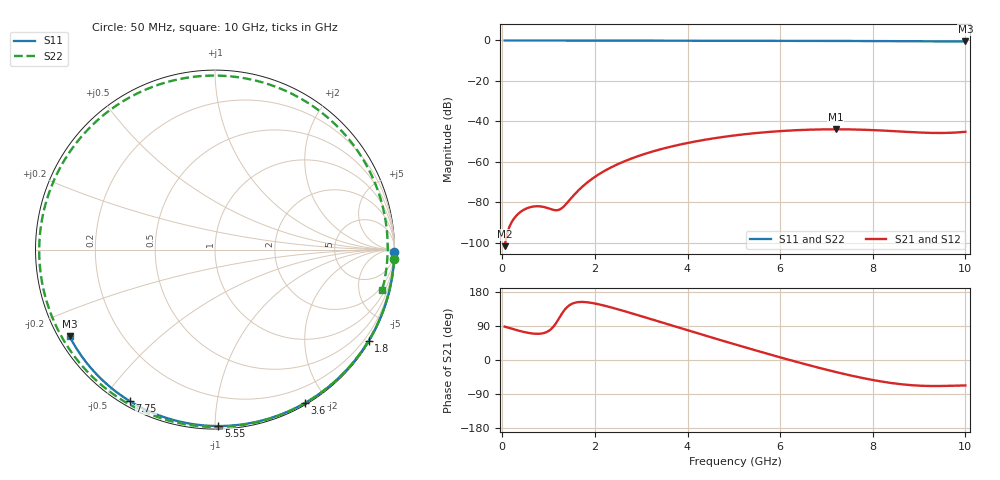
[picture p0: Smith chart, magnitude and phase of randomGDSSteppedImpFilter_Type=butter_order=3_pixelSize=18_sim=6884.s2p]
! freq	dB(S11)	phase(S11)	dB(S12)	phase(S12)
!  dB(S21)	phase(S21)	dB(S22)	phase(S22)
!S-par simulation data
#  GHz  S  DB  R 50
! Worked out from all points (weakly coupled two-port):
!   200 points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, 50 MHz to 10 GHz, reference 50 ohm
!   highest |S21| = -43.94 dB at 7.2 GHz (marker M1); lowest = -101.8 dB at 50 MHz (marker M2)
!   lowest |S11| = -0.5 dB at 10 GHz (marker M3), VSWR 34.47, Z = 1.56 - j13.8 ohm
!   |S11| at or under -10 dB: nowhere
!   |S22| runs from -0.4 to 0.0 dB; largest |S21 - S12| = 0
!   S11 on the Smith chart (normalised r, x): 50 MHz: open; 1.8 GHz: 0.03, -3.65; 3.6 GHz: 0.02, -1.74; 5.55 GHz: 0.02, -1.02; 7.75 GHz: 0.02, -0.59; 10 GHz: 0.03, -0.28
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0.05  -0.00 -0.9  -101.75 88.2  -101.75 88.2  -0.00 -2.9
0.4  -0.01 -6.9  -84.69 75.9  -84.69 75.9  -0.03 -22.9
0.8  -0.02 -13.8  -82.04 69.2  -82.04 69.2  -0.06 -45.0
1.1  -0.02 -18.9  -83.78 87.4  -83.78 87.4  -0.07 -60.9
1.4  -0.03 -23.9  -80.34 139.6  -80.34 139.6  -0.09 -76.0
1.75  -0.04 -29.8  -71.89 153.1  -71.89 153.1  -0.11 -92.7
1.8  -0.04 -30.6  -70.91 152.7  -70.91 152.7  -0.11 -95.0
2.15  -0.05 -36.5  -65.29 145.1  -65.29 145.1  -0.12 -110.5
2.6  -0.06 -43.8  -60.13 130.2  -60.13 130.2  -0.13 -129.0
3  -0.07 -50.3  -56.68 115.7  -56.68 115.7  -0.15 -144.4
3.4  -0.08 -56.6  -53.93 100.8  -53.93 100.8  -0.16 -159.0
3.6  -0.08 -59.7  -52.76 93.4  -52.76 93.4  -0.17 -166.0
4.3  -0.10 -70.5  -49.42 67.5  -49.42 67.5  -0.19 170.2
5.05  -0.13 -81.7  -46.87 40.3  -46.87 40.3  -0.22 145.7
5.55  -0.15 -88.9  -45.65 22.6  -45.65 22.6  -0.24 129.4
6.15  -0.17 -97.4  -44.62 1.9  -44.62 1.9  -0.25 109.9
6.7  -0.21 -105.1  -44.09 -16.2  -44.09 -16.2  -0.27 91.9
7.2  -0.24 -111.9  -43.94 -31.6  -43.94 -31.6  -0.28 75.4
7.75  -0.28 -119.3  -44.13 -46.8  -44.13 -46.8  -0.29 57.3
8.35  -0.33 -127.3  -44.72 -59.9  -44.72 -59.9  -0.30 37.7
9.15  -0.41 -137.9  -45.66 -68.4  -45.66 -68.4  -0.32 12.1
10  -0.50 -149.2  -45.18 -67.2  -45.18 -67.2  -0.37 -13.7
